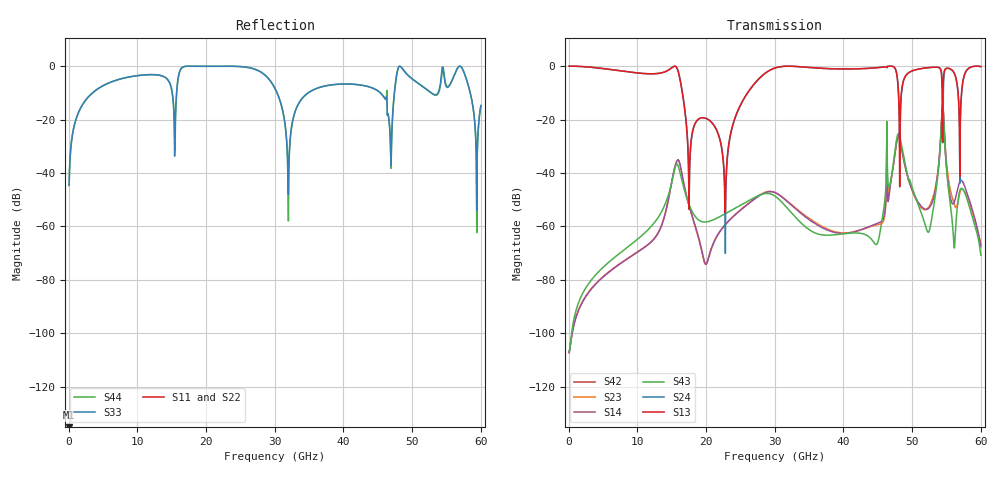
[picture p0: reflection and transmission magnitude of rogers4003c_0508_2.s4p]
! TOUCHSTONE file generated by CST MICROWAVE STUDIO
! Date and time: Wed Apr 16 11:32:48 2025
! Project name: LOSSLESS_rogers4003c_air_gapped_wideband_balanced.cst
! Parameters = {h=1.5; lambda=10; period=5; phi=0; theta=0; thickness=0.508; w_mesh_1=2; w_mesh_2=2; w_patch_1=1.6; w_patch_2=1.6}
! Header version: 2018
! Port assignment regex: !\s*Touchstone port\s*([0-9]+)\s*=\s*(CST MWS port|CST DS port)\s*([0-9]+|Zmin|Zmax)\s*\(\"(.*)\"\)(\s*mode\s*([0-9]+))?.*
! Touchstone port assignment:
! Touchstone port 1 = CST MWS port Zmin ("") mode 1
! Touchstone port 2 = CST MWS port Zmin ("") mode 2
! Touchstone port 3 = CST MWS port Zmax ("") mode 1
! Touchstone port 4 = CST MWS port Zmax ("") mode 2
! S-Parameters are not renormalized. Unphysical impedance of 50 will be written to the file.
# GHz S RI R 50
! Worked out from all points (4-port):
!   1003 points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, 60 MHz to 60 GHz, reference per port
!   strongest paths, dB at 60 MHz, 15 GHz, 30 GHz, 45 GHz, 60 GHz:
!     S13: 0.0, -0.6, -0.7, -0.5, -0.1
!     S24: 0.0, -0.6, -0.7, -0.6, -0.1
!     S43: -106.7, -43.6, -48.6, -65.9, -70.8
!     S14: -107.2, -43.3, -47.3, -58.8, -67.6
!     S23: -107.3, -43.4, -47.3, -59.3, -66.7
!     S42: -, -, -, -, -
!   lowest |S11| = - dB at 60 MHz (marker M1), VSWR 1.00
!   |S11| at or under -10 dB: start of sweep to end of sweep
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0.06  0 0  0 0  0.9999 -0.00581  5.52e-07 -4.32e-06
      0 0  0 0  5.52e-07 -4.29e-06  0.9999 -0.00581
      0 0  0 0  6.9e-06 -0.00586  8.97e-07 -4.53e-06
      0 0  0 0  9.06e-07 -4.52e-06  7.65e-06 -0.00585
22.8  0 0  0 0  -0.000781 0.00162  -0.000473 0.000973
      0 0  0 0  -0.000459 0.000983  0.000111 -0.000292
      0 0  0 0  -0.909 -0.4168  -0.000756 0.00157
      0 0  0 0  -0.000746 0.00156  -0.9064 -0.4223
44.76  0 0  0 0  0.7166 -0.5973  -0.000417 -0.00104
       0 0  0 0  -0.000173 -0.00105  0.7168 -0.5966
       0 0  0 0  -0.2318 -0.2766  -0.00124 -9.6e-05
       0 0  0 0  -0.000446 9.93e-05  -0.2322 -0.2768
48  0 0  0 0  -0.2179 -0.2136  -0.0212 -0.0427
    0 0  0 0  -0.0207 -0.043  -0.235 -0.2497
    0 0  0 0  0.6747 -0.6683  0.0248 0.0479
    0 0  0 0  0.0248 0.0482  0.69 -0.6333
52.32  0 0  0 0  0.5989 -0.7206  0.00157 0.00145
       0 0  0 0  0.00193 0.00111  0.6016 -0.7182
       0 0  0 0  -0.2676 -0.2245  0.000774 -0.000343
       0 0  0 0  0.000658 -0.000413  -0.2681 -0.2241
54.42  0 0  0 0  0.0284 -0.0262  -0.1291 -0.1233
       0 0  0 0  -0.1397 -0.1291  -0.2054 -0.2456
       0 0  0 0  -0.3674 0.8932  -0.1277 -0.1157
       0 0  0 0  -0.1278 -0.1156  -0.5977 0.6919
60  0 0  0 0  0.3635 -0.9134  0.000303 0.000288
    0 0  0 0  0.000453 -8.92e-05  0.3651 -0.9131
    0 0  0 0  0.17 0.0679  -0.000285 2.85e-05
    0 0  0 0  -0.000285 3.2e-05  0.1687 0.0679
